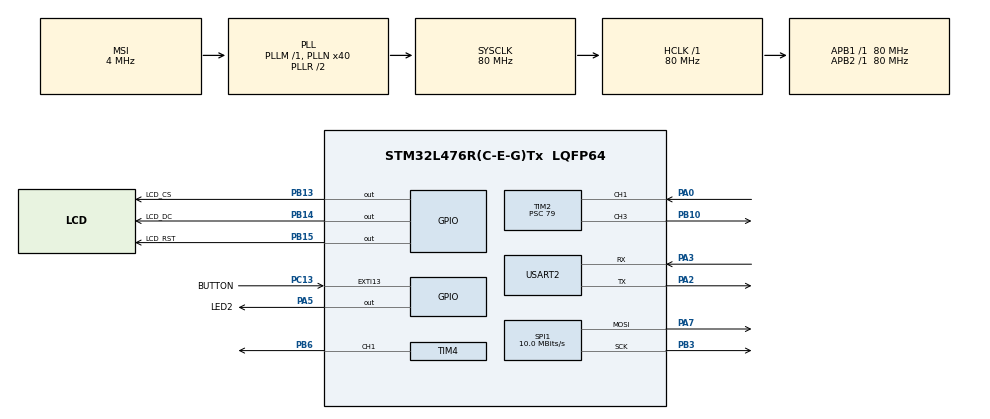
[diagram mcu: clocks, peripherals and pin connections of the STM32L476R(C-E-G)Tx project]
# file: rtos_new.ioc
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Mcu.Family=STM32L4
Mcu.Name=STM32L476R(C-E-G)Tx
Mcu.Package=LQFP64
NVIC.EXTI15_10_IRQn=true\:0\:0\:false\:false\:true\:true\:true\:true
NVIC.PriorityGroup=NVIC_PRIORITYGROUP_4
PA0.Signal=S_TIM2_CH1
PA13\ (JTMS-SWDIO).Mode=Serial_Wire
PA13\ (JTMS-SWDIO).Signal=SYS_JTMS-SWDIO
PA14\ (JTCK-SWCLK).Mode=Serial_Wire
PA14\ (JTCK-SWCLK).Signal=SYS_JTCK-SWCLK
PA2.Mode=Asynchronous
PA2.Signal=USART2_TX
PA3.Mode=Asynchronous
PA3.Signal=USART2_RX
PA5.GPIO_Label=LED2
PA5.Signal=GPIO_Output
PA7.Mode=TX_Only_Simplex_Unidirect_Master
PA7.Signal=SPI1_MOSI
PB10.Signal=S_TIM2_CH3
PB13.GPIO_Label=LCD_CS
PB13.PinState=GPIO_PIN_SET
PB13.Signal=GPIO_Output
PB14.GPIO_Label=LCD_DC
PB14.Signal=GPIO_Output
PB15.GPIO_Label=LCD_RST
PB15.Signal=GPIO_Output
PB3\ (JTDO-TRACESWO).Mode=TX_Only_Simplex_Unidirect_Master
PB3\ (JTDO-TRACESWO).Signal=SPI1_SCK
PB6.Signal=S_TIM4_CH1
PC13.GPIO_Label=BUTTON
PC13.Signal=GPXTI13
ProjectManager.HeapSize=0x200
ProjectManager.StackSize=0x400
ProjectManager.TargetToolchain=STM32CubeIDE
RCC.AHBFreq_Value=80000000
RCC.APB1Freq_Value=80000000
RCC.APB1TimFreq_Value=80000000
RCC.APB2Freq_Value=80000000
RCC.APB2TimFreq_Value=80000000
RCC.CortexFreq_Value=80000000
RCC.HCLKFreq_Value=80000000
RCC.HSE_VALUE=8000000
RCC.HSI_VALUE=16000000
RCC.LSE_VALUE=32768
RCC.MSI_VALUE=4000000
RCC.PLLN=40
RCC.SYSCLKFreq_VALUE=80000000
RCC.SYSCLKSource=RCC_SYSCLKSOURCE_PLLCLK
RCC.VCOOutputFreq_Value=160000000
SH.S_TIM2_CH1.0=TIM2_CH1,Input_Capture1_from_TI1
SH.S_TIM2_CH3.0=TIM2_CH3,PWM Generation3 CH3
SH.S_TIM4_CH1.0=TIM4_CH1,PWM Generation1 CH1
SPI1.BaudRatePrescaler=SPI_BAUDRATEPRESCALER_8
SPI1.CalculateBaudRate=10.0 MBits/s
SPI1.DataSize=SPI_DATASIZE_8BIT
SPI1.Direction=SPI_DIRECTION_2LINES
SPI1.Mode=SPI_MODE_MASTER
SPI1.VirtualType=VM_MASTER
TIM2.Channel-Input_Capture1_from_TI1=TIM_CHANNEL_1
TIM2.Channel-Input_Capture2_from_TI1_63=TIM_CHANNEL_2
TIM2.Channel-PWM\ Generation3\ CH3=TIM_CHANNEL_3
TIM2.ICPolarity_CH2=TIM_INPUTCHANNELPOLARITY_FALLING
TIM2.Period=99999
TIM2.Prescaler=79
TIM2.Pulse-PWM\ Generation3\ CH3=10
TIM4.Channel-PWM\ Generation1\ CH1=TIM_CHANNEL_1
TIM4.OC1Preload_PWM=ENABLE
TIM4.Period=3200-1
TIM4.Prescaler=500-1
TIM4.Pulse-PWM\ Generation1\ CH1=80-1
USART2.VirtualMode-Asynchronous=VM_ASYNC
VP_TIM2_VS_ClockSourceINT.Mode=Internal
VP_TIM2_VS_indirect_ch1.Mode=Input_Capture2_from_TI1_63
board=custom

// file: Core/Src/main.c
/* USER CODE BEGIN Header */
/**
  ******************************************************************************
  * @file           : main.c
  * @brief          : Main program body
  ******************************************************************************
  * @attention
  *
  * Copyright (c) 2024 STMicroelectronics.
  * All rights reserved.
  *
  * This software is licensed under terms that can be found in the LICENSE file
  * in the root directory of this software component.
  * If no LICENSE file comes with this software, it is provided AS-IS.
  *
  ******************************************************************************
  */
/* USER CODE END Header */
#include "main.h"
#include "spi.h"
#include "tim.h"
#include "usart.h"
#include "gpio.h"

/* USER CODE BEGIN Includes */
#include "lcd.h"
#include "SensorGraph.h"
#include <stdio.h>
/* USER CODE END Includes */

void SystemClock_Config(void);

/* USER CODE BEGIN 0 */
int __io_putchar(int ch){
	HAL_UART_Transmit(&huart2, (uint8_t*)&ch, 1, HAL_MAX_DELAY);
	return 0;
}

void HAL_GPIO_EXTI_Callback(uint16_t pin){
	if(pin == BUTTON_Pin){
		HAL_GPIO_TogglePin(LED2_GPIO_Port, LED2_Pin);
	}
}

int set_position(uint8_t angle, uint32_t period){

	if(angle < 0 || angle > 90){
		return -1;
	}

	float pulse = (((angle/18.0) + 5.0) * period) / 100.0;

	//printf("duty: %.2f\n", pulse);

	__HAL_TIM_SET_COMPARE(&htim4, TIM_CHANNEL_1, (uint32_t)pulse);

	return 0;
}

uint16_t get_distance(void){
	uint32_t start = htim2.Instance->CCR1;
	uint32_t stop = htim2.Instance->CCR2;

	uint16_t value = (stop-start)/58.0f;

	return value;
}

/* USER CODE END 0 */

int main(void)
{

  /* MCU Configuration--------------------------------------------------------*/

  /* Reset of all peripherals, Initializes the Flash interface and the Systick. */
  HAL_Init();

  /* Configure the system clock */
  SystemClock_Config();

  /* Initialize all configured peripherals */
  MX_GPIO_Init();
  MX_TIM4_Init();
  MX_TIM2_Init();
  MX_USART2_UART_Init();
  MX_SPI1_Init();
  /* USER CODE BEGIN 2 */
  HAL_TIM_PWM_Start(&htim4, TIM_CHANNEL_1);
  HAL_TIM_IC_Start(&htim2, TIM_CHANNEL_1);
  HAL_TIM_IC_Start(&htim2, TIM_CHANNEL_2);
  HAL_TIM_PWM_Start(&htim2, TIM_CHANNEL_3);

  lcd_init();
  lcd_box_fill(0, 0, 160, 128, WHITE);
  set_background();

  graph_handle graph1;
  graph1.border_width = 1;
  graph1.graph_start_X = 10;
  graph1.graph_start_Y = 10;
  graph1.graph_height = 91;
  graph1.graph_width = 91;
  graph1.column_nr = 0;

  set_graph_window(&graph1);
  /* USER CODE END 2 */

  /* Infinite loop */
  /* USER CODE BEGIN WHILE */
  uint32_t period = htim4.Instance->ARR + 1;
  set_position(0, period);

  while (1)
  {
	  HAL_Delay(40);
	  for(int i = 0; i < 90; i += 1){
		  set_position(i, period);
		  HAL_Delay(40);
		  graph(&graph1, get_distance(), 90);
	  }

	  graph1.column_nr = 90;
	  for(int i = 90; i > 0; i -= 1){
		  set_position(i, period);
		  HAL_Delay(40);
		  graph_backwards(&graph1, get_distance(), 90);
	  }
    /* USER CODE END WHILE */

  }
}

void SystemClock_Config(void)
{
  RCC_OscInitTypeDef RCC_OscInitStruct = {0};
  RCC_ClkInitTypeDef RCC_ClkInitStruct = {0};

  /** Configure the main internal regulator output voltage
  */
  if (HAL_PWREx_ControlVoltageScaling(PWR_REGULATOR_VOLTAGE_SCALE1) != HAL_OK)
  {
    Error_Handler();
  }

  /** Initializes the RCC Oscillators according to the specified parameters
  * in the RCC_OscInitTypeDef structure.
  */
  RCC_OscInitStruct.OscillatorType = RCC_OSCILLATORTYPE_MSI;
  RCC_OscInitStruct.MSIState = RCC_MSI_ON;
  RCC_OscInitStruct.MSICalibrationValue = 0;
  RCC_OscInitStruct.MSIClockRange = RCC_MSIRANGE_6;
  RCC_OscInitStruct.PLL.PLLState = RCC_PLL_ON;
  RCC_OscInitStruct.PLL.PLLSource = RCC_PLLSOURCE_MSI;
  RCC_OscInitStruct.PLL.PLLM = 1;
  RCC_OscInitStruct.PLL.PLLN = 40;
  RCC_OscInitStruct.PLL.PLLP = RCC_PLLP_DIV7;
  RCC_OscInitStruct.PLL.PLLQ = RCC_PLLQ_DIV2;
  RCC_OscInitStruct.PLL.PLLR = RCC_PLLR_DIV2;
  if (HAL_RCC_OscConfig(&RCC_OscInitStruct) != HAL_OK)
  {
    Error_Handler();
  }

  /** Initializes the CPU, AHB and APB buses clocks
  */
  RCC_ClkInitStruct.ClockType = RCC_CLOCKTYPE_HCLK|RCC_CLOCKTYPE_SYSCLK
                              |RCC_CLOCKTYPE_PCLK1|RCC_CLOCKTYPE_PCLK2;
  RCC_ClkInitStruct.SYSCLKSource = RCC_SYSCLKSOURCE_PLLCLK;
  RCC_ClkInitStruct.AHBCLKDivider = RCC_SYSCLK_DIV1;
  RCC_ClkInitStruct.APB1CLKDivider = RCC_HCLK_DIV1;
  RCC_ClkInitStruct.APB2CLKDivider = RCC_HCLK_DIV1;

  if (HAL_RCC_ClockConfig(&RCC_ClkInitStruct, FLASH_LATENCY_4) != HAL_OK)
  {
    Error_Handler();
  }
}

void Error_Handler(void)
{
  __disable_irq();
  while (1)
  {
  }
}
